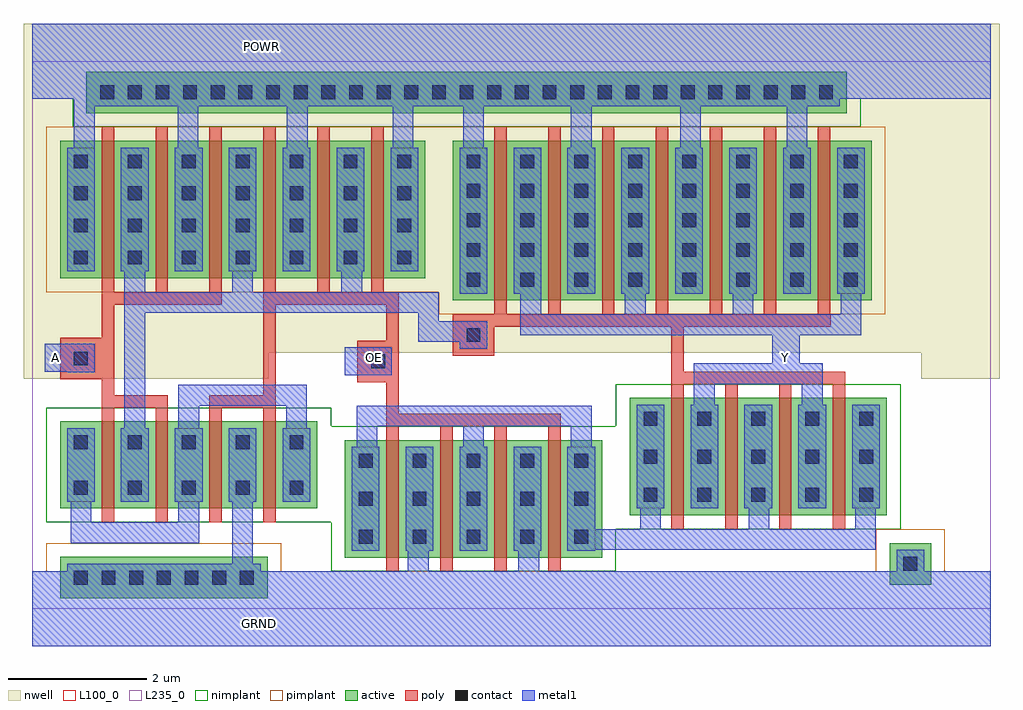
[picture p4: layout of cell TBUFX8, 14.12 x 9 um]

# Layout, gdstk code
import gdstk
lib = gdstk.Library(unit=1e-6, precision=1e-09)
def R(c, l, rs):  # rectangles x0, y0, x1, y1
    for r in rs: c.add(gdstk.rectangle(r[:2], r[2:], *l))
def A(c, l, x, y, w, h, nx, ny, dx, dy):  # array of equal rectangles
    R(c, l, [(x+i*dx, y+j*dy, x+i*dx+w, y+j*dy+h) for i in range(nx) for j in range(ny)])
def P(c, l, *ps):  # polygons
    for p in ps: c.add(gdstk.Polygon(p, *l))
active = (1, 0)
nwell = (2, 0)
poly = (3, 0)
nimplant = (4, 0)
pimplant = (5, 0)
contact = (6, 0)
metal1 = (7, 0)
L100_0 = (100, 0)
L235_0 = (235, 0)

tbufx8 = lib.new_cell('TBUFX8')
A(tbufx8, active, 4.52, 0.74, 0.6, 1.7, 5, 1, 0.78, 0)
A(tbufx8, active, 5.12, 0.74, 0.18, 1.7, 4, 1, 0.78, 0)
A(tbufx8, active, 8.64, 1.35, 0.6, 1.7, 5, 1, 0.78, 0)
A(tbufx8, active, 9.24, 1.35, 0.18, 1.7, 4, 1, 0.78, 0)
A(tbufx8, active, 0.4, 1.45, 0.6, 1.26, 3, 1, 0.78, 0)
A(tbufx8, active, 1, 1.45, 0.18, 1.26, 4, 1, 0.78, 0)
A(tbufx8, active, 1.96, 1.45, 0.6, 1.26, 3, 1, 0.78, 0)
A(tbufx8, active, 6.08, 4.46, 0.6, 2.31, 8, 1, 0.78, 0)
A(tbufx8, active, 6.68, 4.46, 0.18, 2.31, 7, 1, 0.78, 0)
A(tbufx8, active, 0.4, 4.78, 0.6, 1.99, 4, 1, 0.78, 0)
A(tbufx8, active, 1, 4.78, 0.18, 1.99, 6, 1, 0.78, 0)
A(tbufx8, active, 2.74, 4.78, 0.6, 1.99, 4, 1, 0.78, 0)
R(tbufx8, active, [(0.4,0.15,3.4,0.75), (12.4,0.35,13,0.95), (0.78,7.17,11.78,7.77)])
R(tbufx8, nwell, [(-0.13,3.33,3.42,3.7), (12.86,3.33,13.99,3.71), (-0.13,3.7,13.99,8.46), (5.58,3.96,12.64,7.27), (-0.1,4.28,3.84,7.27), (2.24,4.28,6.18,7.27)])
A(tbufx8, poly, 5.12, 0.54, 0.18, 0.2, 4, 2, 0.78, 1.9)
A(tbufx8, poly, 5.12, 0.54, 0.18, 2.1, 4, 1, 0.78, 0)
A(tbufx8, poly, 9.24, 1.15, 0.18, 0.2, 4, 2, 0.78, 1.9)
A(tbufx8, poly, 9.24, 1.15, 0.18, 2.1, 4, 1, 0.78, 0)
A(tbufx8, poly, 1, 1.25, 0.18, 1.66, 4, 1, 0.78, 0)
A(tbufx8, poly, 1, 1.25, 0.18, 0.2, 4, 2, 0.78, 1.46)
A(tbufx8, poly, 6.68, 4.26, 0.18, 0.2, 7, 2, 0.78, 2.51)
A(tbufx8, poly, 6.68, 4.26, 0.18, 2.71, 7, 1, 0.78, 0)
A(tbufx8, poly, 1, 4.58, 0.18, 0.2, 6, 2, 0.78, 2.19)
A(tbufx8, poly, 1, 4.58, 0.18, 2.39, 6, 1, 0.78, 0)
R(tbufx8, poly, [(4.7,3.28,5.3,3.88), (0.4,3.32,1,3.92), (6.08,3.66,6.68,4.26)])
R(tbufx8, nimplant, [(4.32,0.54,8.44,2.64), (8.44,1.15,12.56,3.25), (0.2,1.25,2.76,2.91), (1.76,1.25,4.32,2.91)])
P(tbufx8, nimplant, [(13.86,8.46),(0,8.46),(0,7.38),(0.58,7.38),(0.58,6.97),(11.98,6.97),(11.98,7.38),(13.86,7.38)])
R(tbufx8, pimplant, [(12.2,0.15,13.2,1.15), (5.88,4.26,12.34,6.97), (0.2,4.58,3.54,6.97), (2.54,4.58,5.88,6.97)])
P(tbufx8, pimplant, [(13.86,0.54),(3.6,0.54),(3.6,0.95),(0.2,0.95),(0.2,0.54),(0,0.54),(0,-0.54),(13.86,-0.54)])
A(tbufx8, contact, 0.6, 0.35, 0.2, 0.2, 7, 1, 0.4, 0)
A(tbufx8, contact, 4.72, 0.94, 0.2, 0.2, 5, 3, 0.78, 0.55)
A(tbufx8, contact, 8.84, 1.55, 0.2, 0.2, 5, 3, 0.78, 0.55)
A(tbufx8, contact, 0.6, 1.65, 0.2, 0.2, 3, 2, 0.78, 0.66)
A(tbufx8, contact, 2.16, 1.65, 0.2, 0.2, 3, 2, 0.78, 0.66)
A(tbufx8, contact, 6.28, 4.66, 0.2, 0.2, 8, 3, 0.78, 0.43)
A(tbufx8, contact, 0.6, 4.98, 0.2, 0.2, 4, 3, 0.78, 0.465)
A(tbufx8, contact, 2.94, 4.98, 0.2, 0.2, 4, 3, 0.78, 0.465)
A(tbufx8, contact, 6.28, 5.945, 0.2, 0.2, 8, 2, 0.78, 0.425)
A(tbufx8, contact, 0.6, 6.37, 0.2, 0.2, 4, 1, 0.78, 0)
A(tbufx8, contact, 2.94, 6.37, 0.2, 0.2, 4, 1, 0.78, 0)
A(tbufx8, contact, 0.98, 7.37, 0.2, 0.2, 27, 1, 0.4, 0)
R(tbufx8, contact, [(0.6,0.35,0.8,0.55), (12.6,0.55,12.8,0.75), (4.9,3.48,5.1,3.68), (0.6,3.52,0.8,3.72), (6.28,3.86,6.48,4.06)])
R(tbufx8, metal1, [(0,-0.54,13.86,0.54), (0.5,0.25,3.3,0.65), (12.5,0.45,12.9,0.85), (4.8,3.38,5.2,3.78), (0.5,3.42,0.9,3.82), (0.18,3.48,0.48,3.78), (4.8,3.48,5.1,3.78), (10.75,3.48,11.05,3.78), (6.18,3.76,6.58,4.16), (0.88,7.27,11.68,7.67), (0,7.38,13.86,8.46)])
R(tbufx8, L100_0, [(4.62,0.84,5.02,2.34), (7.74,0.84,8.14,2.34), (8.74,1.45,9.14,2.95), (11.86,1.45,12.26,2.95), (0.5,1.55,0.9,2.61), (2.06,1.55,2.46,2.61), (2.06,1.55,2.46,2.61), (3.62,1.55,4.02,2.61), (6.18,4.56,6.58,6.67), (11.64,4.56,12.04,6.67), (0.5,4.88,0.9,6.67), (2.84,4.88,3.24,6.67), (2.84,4.88,3.24,6.67), (5.18,4.88,5.58,6.67)])
R(tbufx8, L235_0, [(0,0,13.86,7.92)])
tbufx8.add(gdstk.FlexPath([(1,4.49),(2.74,4.49)], 0.18, ends="flush", simple_path=True, layer=3, datatype=0))  # poly
tbufx8.add(gdstk.FlexPath([(3.34,4.49),(5.12,4.49)], 0.18, ends="flush", simple_path=True, layer=3, datatype=0))  # poly
tbufx8.add(gdstk.FlexPath([(1,3),(1.96,3)], 0.18, ends="flush", simple_path=True, layer=3, datatype=0))  # poly
tbufx8.add(gdstk.FlexPath([(2.56,3),(3.52,3)], 0.18, ends="flush", simple_path=True, layer=3, datatype=0))  # poly
tbufx8.add(gdstk.FlexPath([(1.09,4.42),(1.09,3.09)], 0.18, ends="flush", simple_path=True, layer=3, datatype=0))  # poly
tbufx8.add(gdstk.FlexPath([(3.43,3.09),(3.43,4.43)], 0.18, ends="flush", simple_path=True, layer=3, datatype=0))  # poly
tbufx8.add(gdstk.FlexPath([(6.68,4.17),(11.55,4.17)], 0.18, ends="flush", simple_path=True, layer=3, datatype=0))  # poly
tbufx8.add(gdstk.FlexPath([(9.24,3.34),(11.76,3.34)], 0.18, ends="flush", simple_path=True, layer=3, datatype=0))  # poly
tbufx8.add(gdstk.FlexPath([(5.12,2.73),(7.64,2.73)], 0.18, ends="flush", simple_path=True, layer=3, datatype=0))  # poly
tbufx8.add(gdstk.FlexPath([(9.33,3.41),(9.33,4.12)], 0.18, ends="flush", simple_path=True, layer=3, datatype=0))  # poly
tbufx8.add(gdstk.FlexPath([(5.21,2.81),(5.21,4.58)], 0.18, ends="flush", simple_path=True, layer=3, datatype=0))  # poly
tbufx8.add(gdstk.FlexPath([(0.7,1.55),(0.7,2.61)], 0.4, ends="flush", simple_path=True, layer=7, datatype=0))  # metal1
tbufx8.add(gdstk.FlexPath([(1.48,1.55),(1.48,2.61)], 0.4, ends="flush", simple_path=True, layer=7, datatype=0))  # metal1
tbufx8.add(gdstk.FlexPath([(2.26,1.55),(2.26,2.61)], 0.4, ends="flush", simple_path=True, layer=7, datatype=0))  # metal1
tbufx8.add(gdstk.FlexPath([(2.26,1.55),(2.26,2.61)], 0.4, ends="flush", simple_path=True, layer=7, datatype=0))  # metal1
tbufx8.add(gdstk.FlexPath([(3.04,1.55),(3.04,2.61)], 0.4, ends="flush", simple_path=True, layer=7, datatype=0))  # metal1
tbufx8.add(gdstk.FlexPath([(3.82,1.55),(3.82,2.61)], 0.4, ends="flush", simple_path=True, layer=7, datatype=0))  # metal1
tbufx8.add(gdstk.FlexPath([(8.94,1.45),(8.94,2.95)], 0.4, ends="flush", simple_path=True, layer=7, datatype=0))  # metal1
tbufx8.add(gdstk.FlexPath([(9.72,1.45),(9.72,2.95)], 0.4, ends="flush", simple_path=True, layer=7, datatype=0))  # metal1
tbufx8.add(gdstk.FlexPath([(10.5,1.45),(10.5,2.95)], 0.4, ends="flush", simple_path=True, layer=7, datatype=0))  # metal1
tbufx8.add(gdstk.FlexPath([(11.28,1.45),(11.28,2.95)], 0.4, ends="flush", simple_path=True, layer=7, datatype=0))  # metal1
tbufx8.add(gdstk.FlexPath([(12.06,1.45),(12.06,2.95)], 0.4, ends="flush", simple_path=True, layer=7, datatype=0))  # metal1
tbufx8.add(gdstk.FlexPath([(4.82,0.84),(4.82,2.34)], 0.4, ends="flush", simple_path=True, layer=7, datatype=0))  # metal1
tbufx8.add(gdstk.FlexPath([(5.6,0.84),(5.6,2.34)], 0.4, ends="flush", simple_path=True, layer=7, datatype=0))  # metal1
tbufx8.add(gdstk.FlexPath([(6.38,0.84),(6.38,2.34)], 0.4, ends="flush", simple_path=True, layer=7, datatype=0))  # metal1
tbufx8.add(gdstk.FlexPath([(7.16,0.84),(7.16,2.34)], 0.4, ends="flush", simple_path=True, layer=7, datatype=0))  # metal1
tbufx8.add(gdstk.FlexPath([(7.94,0.84),(7.94,2.34)], 0.4, ends="flush", simple_path=True, layer=7, datatype=0))  # metal1
tbufx8.add(gdstk.FlexPath([(0.7,4.88),(0.7,6.67)], 0.4, ends="flush", simple_path=True, layer=7, datatype=0))  # metal1
tbufx8.add(gdstk.FlexPath([(1.48,4.88),(1.48,6.67)], 0.4, ends="flush", simple_path=True, layer=7, datatype=0))  # metal1
tbufx8.add(gdstk.FlexPath([(2.26,4.88),(2.26,6.67)], 0.4, ends="flush", simple_path=True, layer=7, datatype=0))  # metal1
tbufx8.add(gdstk.FlexPath([(3.04,4.88),(3.04,6.67)], 0.4, ends="flush", simple_path=True, layer=7, datatype=0))  # metal1
tbufx8.add(gdstk.FlexPath([(3.04,4.88),(3.04,6.67)], 0.4, ends="flush", simple_path=True, layer=7, datatype=0))  # metal1
tbufx8.add(gdstk.FlexPath([(3.82,4.88),(3.82,6.67)], 0.4, ends="flush", simple_path=True, layer=7, datatype=0))  # metal1
tbufx8.add(gdstk.FlexPath([(4.6,4.88),(4.6,6.67)], 0.4, ends="flush", simple_path=True, layer=7, datatype=0))  # metal1
tbufx8.add(gdstk.FlexPath([(5.38,4.88),(5.38,6.67)], 0.4, ends="flush", simple_path=True, layer=7, datatype=0))  # metal1
tbufx8.add(gdstk.FlexPath([(6.38,4.56),(6.38,6.67)], 0.4, ends="flush", simple_path=True, layer=7, datatype=0))  # metal1
tbufx8.add(gdstk.FlexPath([(7.16,4.56),(7.16,6.67)], 0.4, ends="flush", simple_path=True, layer=7, datatype=0))  # metal1
tbufx8.add(gdstk.FlexPath([(7.94,4.56),(7.94,6.67)], 0.4, ends="flush", simple_path=True, layer=7, datatype=0))  # metal1
tbufx8.add(gdstk.FlexPath([(8.72,4.56),(8.72,6.67)], 0.4, ends="flush", simple_path=True, layer=7, datatype=0))  # metal1
tbufx8.add(gdstk.FlexPath([(9.5,4.56),(9.5,6.67)], 0.4, ends="flush", simple_path=True, layer=7, datatype=0))  # metal1
tbufx8.add(gdstk.FlexPath([(10.28,4.56),(10.28,6.67)], 0.4, ends="flush", simple_path=True, layer=7, datatype=0))  # metal1
tbufx8.add(gdstk.FlexPath([(11.06,4.56),(11.06,6.67)], 0.4, ends="flush", simple_path=True, layer=7, datatype=0))  # metal1
tbufx8.add(gdstk.FlexPath([(11.84,4.56),(11.84,6.67)], 0.4, ends="flush", simple_path=True, layer=7, datatype=0))  # metal1
tbufx8.add(gdstk.FlexPath([(1.48,4.89),(1.48,4.43),(4.62,4.43),(4.62,4.9)], 0.3, ends="flush", simple_path=True, layer=7, datatype=0))  # metal1
tbufx8.add(gdstk.FlexPath([(3.04,4.9),(3.04,4.52)], 0.3, ends="flush", simple_path=True, layer=7, datatype=0))  # metal1
tbufx8.add(gdstk.FlexPath([(3.04,1.57),(3.04,0.62)], 0.3, ends="flush", simple_path=True, layer=7, datatype=0))  # metal1
tbufx8.add(gdstk.FlexPath([(2.26,2.61),(2.26,3.09),(3.82,3.09),(3.82,2.61)], 0.3, ends="flush", simple_path=True, layer=7, datatype=0))  # metal1
tbufx8.add(gdstk.FlexPath([(2.26,1.55),(2.26,1.1),(0.7,1.1),(0.7,1.56)], 0.3, ends="flush", simple_path=True, layer=7, datatype=0))  # metal1
tbufx8.add(gdstk.FlexPath([(1.48,2.6),(1.48,4.33)], 0.3, ends="flush", simple_path=True, layer=7, datatype=0))  # metal1
tbufx8.add(gdstk.FlexPath([(7.21,4.72),(7.21,4.11),(11.84,4.11),(11.84,4.65)], 0.3, ends="flush", simple_path=True, layer=7, datatype=0))  # metal1
tbufx8.add(gdstk.FlexPath([(8.72,4.61),(8.72,4.21)], 0.3, ends="flush", simple_path=True, layer=7, datatype=0))  # metal1
tbufx8.add(gdstk.FlexPath([(10.28,4.62),(10.28,4.21)], 0.3, ends="flush", simple_path=True, layer=7, datatype=0))  # metal1
tbufx8.add(gdstk.FlexPath([(6.38,6.34),(6.38,7.3)], 0.3, ends="flush", simple_path=True, layer=7, datatype=0))  # metal1
tbufx8.add(gdstk.FlexPath([(7.94,6.35),(7.94,7.45)], 0.3, ends="flush", simple_path=True, layer=7, datatype=0))  # metal1
tbufx8.add(gdstk.FlexPath([(9.52,6.32),(9.52,7.42)], 0.3, ends="flush", simple_path=True, layer=7, datatype=0))  # metal1
tbufx8.add(gdstk.FlexPath([(11.06,6.35),(11.06,7.41)], 0.3, ends="flush", simple_path=True, layer=7, datatype=0))  # metal1
tbufx8.add(gdstk.FlexPath([(9.72,2.89),(9.72,3.4),(11.28,3.4),(11.28,2.88)], 0.3, ends="flush", simple_path=True, layer=7, datatype=0))  # metal1
tbufx8.add(gdstk.FlexPath([(8.94,1.46),(8.94,1.11)], 0.3, ends="flush", simple_path=True, layer=7, datatype=0))  # metal1
tbufx8.add(gdstk.FlexPath([(10.51,1.46),(10.51,1.12)], 0.3, ends="flush", simple_path=True, layer=7, datatype=0))  # metal1
tbufx8.add(gdstk.FlexPath([(8.11,1),(12.05,1),(12.05,1.45)], 0.3, ends="flush", simple_path=True, layer=7, datatype=0))  # metal1
tbufx8.add(gdstk.FlexPath([(7.94,2.3),(7.94,2.79),(4.84,2.79),(4.84,2.3)], 0.3, ends="flush", simple_path=True, layer=7, datatype=0))  # metal1
tbufx8.add(gdstk.FlexPath([(5.36,6.55),(5.36,7.44)], 0.3, ends="flush", simple_path=True, layer=7, datatype=0))  # metal1
tbufx8.add(gdstk.FlexPath([(3.83,6.62),(3.83,7.44)], 0.3, ends="flush", simple_path=True, layer=7, datatype=0))  # metal1
tbufx8.add(gdstk.FlexPath([(2.25,6.59),(2.25,7.46)], 0.3, ends="flush", simple_path=True, layer=7, datatype=0))  # metal1
tbufx8.add(gdstk.FlexPath([(5,3.58),(4.52,3.58)], 0.4, ends="flush", simple_path=True, layer=7, datatype=0))  # metal1
tbufx8.add(gdstk.FlexPath([(0.75,6.61),(0.75,7.42)], 0.3, ends="flush", simple_path=True, layer=7, datatype=0))  # metal1
tbufx8.add(gdstk.FlexPath([(6.38,2.28),(6.38,2.74)], 0.3, ends="flush", simple_path=True, layer=7, datatype=0))  # metal1
tbufx8.add(gdstk.FlexPath([(7.18,0.89),(7.18,0.43)], 0.3, ends="flush", simple_path=True, layer=7, datatype=0))  # metal1
tbufx8.add(gdstk.FlexPath([(5.58,0.89),(5.58,0.46)], 0.3, ends="flush", simple_path=True, layer=7, datatype=0))  # metal1
tbufx8.add(gdstk.FlexPath([(4.77,4.43),(5.73,4.43),(5.73,4.01),(6.22,4.01)], 0.3, ends="flush", simple_path=True, layer=7, datatype=0))  # metal1
tbufx8.add(gdstk.FlexPath([(0.18,3.63),(0.9,3.63)], 0.4, ends="flush", simple_path=True, layer=7, datatype=0))  # metal1
tbufx8.add(gdstk.FlexPath([(10.9,3.55),(10.9,3.96)], 0.4, ends="flush", simple_path=True, layer=7, datatype=0))  # metal1
tbufx8.add(gdstk.Label('OE', (4.95,3.63), layer=230, texttype=0))
tbufx8.add(gdstk.Label('POWR', (3.32,8.14), layer=230, texttype=0))
tbufx8.add(gdstk.Label('A', (0.33,3.63), layer=230, texttype=0))
tbufx8.add(gdstk.Label('GRND', (3.28,-0.21), layer=230, texttype=0))
tbufx8.add(gdstk.Label('Y', (10.9,3.63), layer=230, texttype=0))

lib.write_gds('TBUFX8.gds')
